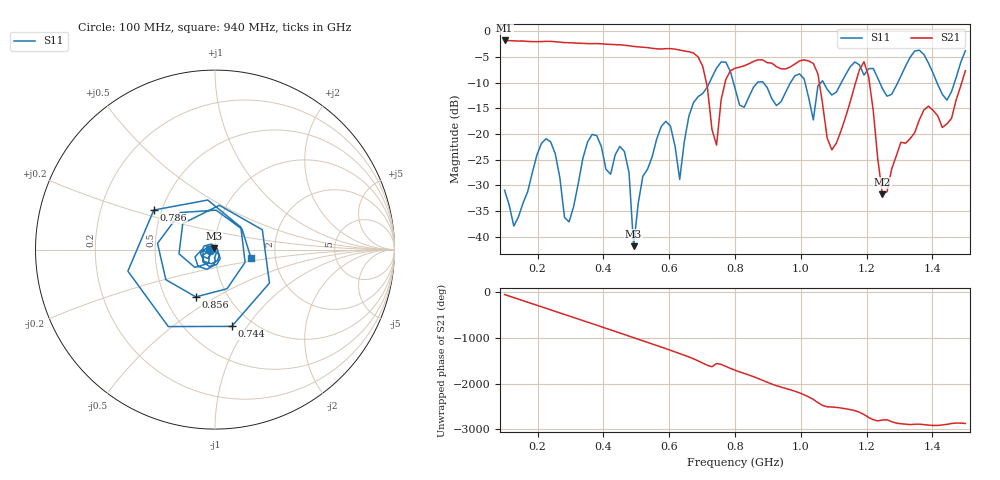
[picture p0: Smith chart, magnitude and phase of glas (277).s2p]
! NanoVNA-App
! Date: 2025-09-25 15:57:37
! Start: 100MHz Stop: 1,5GHz Points: 101
! S-Parameter data: F S11 S21 S12 S22
# Hz S RI R 50
!  Frequency  S11_Real  S11_Imag  S21_Real  S21_Imag  S12_Real  S12_Imag  S22_Real  S22_Imag
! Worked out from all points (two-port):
!   101 points, 100 MHz to 1.5 GHz, reference 50 ohm
!   highest |S21| = -1.80 dB at 100 MHz (marker M1); lowest = -31.7 dB at 1.248 GHz (marker M2)
!   |S21| within 3 dB of the highest: start of sweep to 684.1 MHz
!   lowest |S11| = -41.8 dB at 492 MHz (marker M3), VSWR 1.02, Z = 49.5 + j0.626 ohm
!   |S11| at or under -10 dB: start of sweep to 722.4 MHz; 795.3 MHz to 868.2 MHz (72.91 MHz wide, 8.77 % of centre); 885.9 MHz to 968.6 MHz (82.66 MHz wide, 8.91 % of centre) (the widest 3 of 7)
!   S12 and S22 are empty: the file has one direction only
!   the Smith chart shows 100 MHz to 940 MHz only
!   S11 on the Smith chart (normalised r, x): 100 MHz: 0.95, -0.01; 744 MHz: 0.80, -0.85; 786 MHz: 0.45, +0.24; 856 MHz: 0.71, -0.41; 940 MHz: 1.49, -0.15
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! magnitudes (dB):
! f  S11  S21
! 100 MHz  -30.9  -1.8
! 128 MHz  -37.9  -1.9
! 226 MHz  -20.9  -2.0
! 296 MHz  -37.1  -2.2
! 338 MHz  -24.7  -2.4
! 464 MHz  -23.4  -2.7
! 492 MHz  -41.8  -3.0
! 576 MHz  -18.5  -3.5
! 632 MHz  -28.8  -3.7
! 702 MHz  -12.1  -6.8
! 744 MHz  -7.2  -22.2
! 786 MHz  -7.8  -7.7
! 800 MHz  -11.1  -7.2
! 856 MHz  -10.9  -5.9
! 940 MHz  -13.7  -7.3
! 1.038 GHz  -17.3  -6.3
! 1.094 GHz  -12.4  -23.1
! 1.192 GHz  -8.5  -6.0
! 1.248 GHz  -11.2  -31.7
! 1.276 GHz  -12.3  -26.8
! 1.444 GHz  -13.4  -18.0
! 1.5 GHz  -3.8  -7.7
